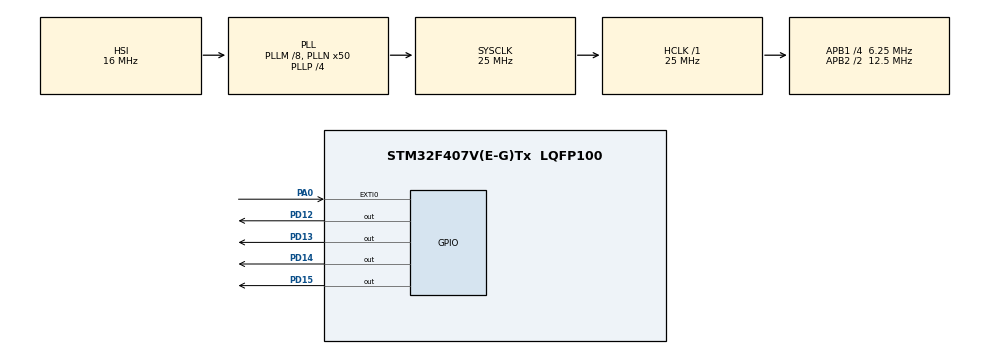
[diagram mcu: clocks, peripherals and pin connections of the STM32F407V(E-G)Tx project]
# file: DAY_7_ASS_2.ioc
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Mcu.Family=STM32F4
Mcu.Name=STM32F407V(E-G)Tx
Mcu.Package=LQFP100
NVIC.EXTI0_IRQn=true\:0\:0\:false\:false\:true\:true\:true\:true
NVIC.PriorityGroup=NVIC_PRIORITYGROUP_0
PA0-WKUP.Signal=GPXTI0
PD12.Signal=GPIO_Output
PD13.Signal=GPIO_Output
PD14.Signal=GPIO_Output
PD15.Signal=GPIO_Output
ProjectManager.HeapSize=0x200
ProjectManager.StackSize=0x400
ProjectManager.TargetToolchain=STM32CubeIDE
RCC.48MHZClocksFreq_Value=14285714.285714285
RCC.AHBFreq_Value=25000000
RCC.APB1CLKDivider=RCC_HCLK_DIV4
RCC.APB1Freq_Value=6250000
RCC.APB1TimFreq_Value=12500000
RCC.APB2CLKDivider=RCC_HCLK_DIV2
RCC.APB2Freq_Value=12500000
RCC.APB2TimFreq_Value=25000000
RCC.CortexFreq_Value=25000000
RCC.HCLKFreq_Value=25000000
RCC.HSE_VALUE=8000000
RCC.HSI_VALUE=16000000
RCC.LSE_VALUE=32768
RCC.PLLM=8
RCC.PLLN=50
RCC.PLLP=RCC_PLLP_DIV4
RCC.PLLQ=7
RCC.SYSCLKFreq_VALUE=25000000
RCC.SYSCLKSource=RCC_SYSCLKSOURCE_PLLCLK
RCC.VCOOutputFreq_Value=100000000
board=STM32F407G-DISC1

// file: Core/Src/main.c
/* USER CODE BEGIN Header */
/**
  ******************************************************************************
  * @file           : main.c
  * @brief          : Main program body
  ******************************************************************************
  * @attention
  *
  * Copyright (c) 2026 STMicroelectronics.
  * All rights reserved.
  *
  * This software is licensed under terms that can be found in the LICENSE file
  * in the root directory of this software component.
  * If no LICENSE file comes with this software, it is provided AS-IS.
  *
  ******************************************************************************
  */
/* USER CODE END Header */
#include "main.h"

/* USER CODE BEGIN PD */

	volatile uint8_t current_led = 0;

	void HAL_GPIO_EXTI_Callback(uint16_t GPIO_Pin)
	{
		if(GPIO_Pin == GPIO_PIN_0)
		{
			HAL_GPIO_WritePin(GPIOD, GPIO_PIN_12 | GPIO_PIN_13 | GPIO_PIN_14 | GPIO_PIN_15, GPIO_PIN_RESET);

			current_led++;

			if(current_led > 3)
			{
				current_led = 0;
			}
		}
	}
/* USER CODE END PD */

void SystemClock_Config(void);
static void MX_GPIO_Init(void);

int main(void)
{

  /* MCU Configuration--------------------------------------------------------*/

  /* Reset of all peripherals, Initializes the Flash interface and the Systick. */
  HAL_Init();

  /* Configure the system clock */
  SystemClock_Config();

  /* Initialize all configured peripherals */
  MX_GPIO_Init();

  /* Infinite loop */
  /* USER CODE BEGIN WHILE */
  while (1)
  {
	  if(current_led == 0)
	  {
		  HAL_GPIO_TogglePin(GPIOD, GPIO_PIN_12);
	  }
	  else if(current_led == 1)
	  {
		  HAL_GPIO_TogglePin(GPIOD, GPIO_PIN_13);
	  }
	  else if(current_led == 2)
	  {
		  HAL_GPIO_TogglePin(GPIOD, GPIO_PIN_14);
	  }
	  else if(current_led == 3)
	  {
		  HAL_GPIO_TogglePin(GPIOD, GPIO_PIN_15);
	  }

	  HAL_Delay(250);
    /* USER CODE END WHILE */

  }
}

void SystemClock_Config(void)
{
  RCC_OscInitTypeDef RCC_OscInitStruct = {0};
  RCC_ClkInitTypeDef RCC_ClkInitStruct = {0};

  /** Configure the main internal regulator output voltage
  */
  __HAL_RCC_PWR_CLK_ENABLE();
  __HAL_PWR_VOLTAGESCALING_CONFIG(PWR_REGULATOR_VOLTAGE_SCALE1);

  /** Initializes the RCC Oscillators according to the specified parameters
  * in the RCC_OscInitTypeDef structure.
  */
  RCC_OscInitStruct.OscillatorType = RCC_OSCILLATORTYPE_HSI;
  RCC_OscInitStruct.HSIState = RCC_HSI_ON;
  RCC_OscInitStruct.HSICalibrationValue = RCC_HSICALIBRATION_DEFAULT;
  RCC_OscInitStruct.PLL.PLLState = RCC_PLL_ON;
  RCC_OscInitStruct.PLL.PLLSource = RCC_PLLSOURCE_HSI;
  RCC_OscInitStruct.PLL.PLLM = 8;
  RCC_OscInitStruct.PLL.PLLN = 50;
  RCC_OscInitStruct.PLL.PLLP = RCC_PLLP_DIV4;
  RCC_OscInitStruct.PLL.PLLQ = 7;
  if (HAL_RCC_OscConfig(&RCC_OscInitStruct) != HAL_OK)
  {
    Error_Handler();
  }

  /** Initializes the CPU, AHB and APB buses clocks
  */
  RCC_ClkInitStruct.ClockType = RCC_CLOCKTYPE_HCLK|RCC_CLOCKTYPE_SYSCLK
                              |RCC_CLOCKTYPE_PCLK1|RCC_CLOCKTYPE_PCLK2;
  RCC_ClkInitStruct.SYSCLKSource = RCC_SYSCLKSOURCE_PLLCLK;
  RCC_ClkInitStruct.AHBCLKDivider = RCC_SYSCLK_DIV1;
  RCC_ClkInitStruct.APB1CLKDivider = RCC_HCLK_DIV4;
  RCC_ClkInitStruct.APB2CLKDivider = RCC_HCLK_DIV2;

  if (HAL_RCC_ClockConfig(&RCC_ClkInitStruct, FLASH_LATENCY_0) != HAL_OK)
  {
    Error_Handler();
  }
}

static void MX_GPIO_Init(void)
{
  GPIO_InitTypeDef GPIO_InitStruct = {0};

  /* GPIO Ports Clock Enable */
  __HAL_RCC_GPIOA_CLK_ENABLE();
  __HAL_RCC_GPIOD_CLK_ENABLE();

  /*Configure GPIO pin Output Level */
  HAL_GPIO_WritePin(GPIOD, GPIO_PIN_12|GPIO_PIN_13|GPIO_PIN_14|GPIO_PIN_15, GPIO_PIN_RESET);

  /*Configure GPIO pin : PA0 */
  GPIO_InitStruct.Pin = GPIO_PIN_0;
  GPIO_InitStruct.Mode = GPIO_MODE_IT_RISING;
  GPIO_InitStruct.Pull = GPIO_NOPULL;
  HAL_GPIO_Init(GPIOA, &GPIO_InitStruct);

  /*Configure GPIO pins : PD12 PD13 PD14 PD15 */
  GPIO_InitStruct.Pin = GPIO_PIN_12|GPIO_PIN_13|GPIO_PIN_14|GPIO_PIN_15;
  GPIO_InitStruct.Mode = GPIO_MODE_OUTPUT_PP;
  GPIO_InitStruct.Pull = GPIO_NOPULL;
  GPIO_InitStruct.Speed = GPIO_SPEED_FREQ_LOW;
  HAL_GPIO_Init(GPIOD, &GPIO_InitStruct);

  /* EXTI interrupt init*/
  HAL_NVIC_SetPriority(EXTI0_IRQn, 0, 0);
  HAL_NVIC_EnableIRQ(EXTI0_IRQn);

}

void Error_Handler(void)
{
  __disable_irq();
  while (1)
  {
  }
}
